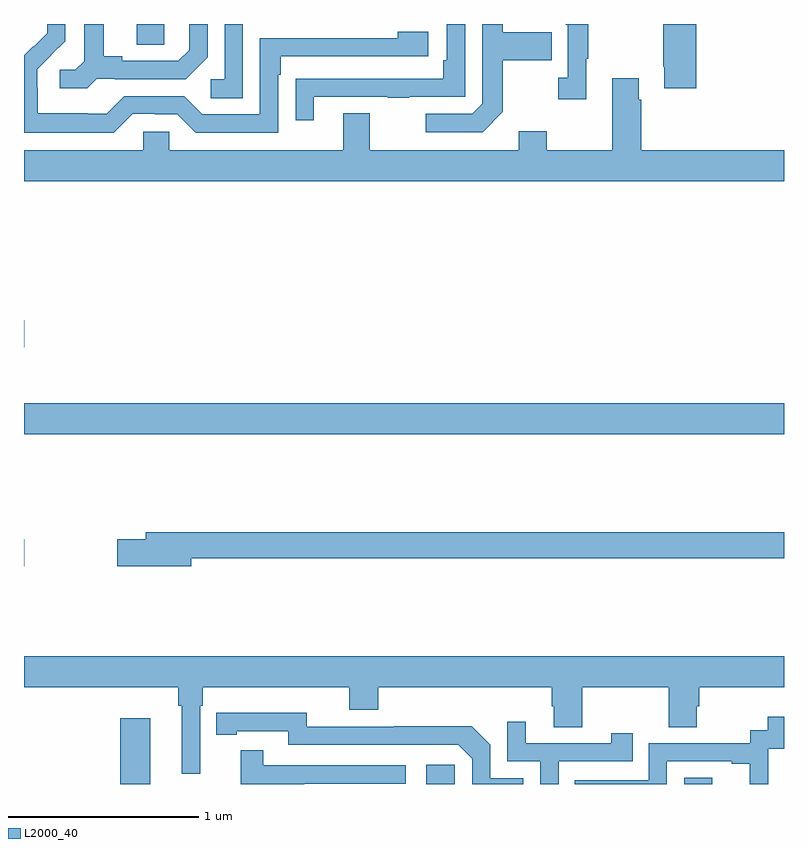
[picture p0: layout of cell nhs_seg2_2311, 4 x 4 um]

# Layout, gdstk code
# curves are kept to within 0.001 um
import gdstk
lib = gdstk.Library(unit=1e-6, precision=1e-09)
def R(c, l, rs):  # rectangles x0, y0, x1, y1
    for r in rs: c.add(gdstk.rectangle(r[:2], r[2:], *l))
def P(c, l, *ps):  # polygons
    for p in ps: c.add(gdstk.Polygon(p, *l))
L2000_40 = (2000, 40)

nhs_seg2_2311 = lib.new_cell('nhs_seg2_2311')
R(nhs_seg2_2311, L2000_40, [(231.506,641.8,231.664,642.145), (233.118,641.8,233.268,641.902), (234.474,641.8,234.622,641.833), (231,642.946,231.001,643.088), (231,643.64,235,643.804), (231,644.098,231.001,644.24), (231.593,645.691,231.738,645.8)])
P(nhs_seg2_2311, L2000_40, [(234.539,645.8),(234.364,645.8),(234.364,645.574),(234.371,645.574),(234.371,645.462),(234.539,645.462)],
  [(233.521,645.337),(233.521,645.61),(233.777,645.61),(233.777,645.757),(233.521,645.757),(233.521,645.8),(233.412,645.8),(233.412,645.381),(233.358,645.327),(233.115,645.327),(233.115,645.231),(233.415,645.231)],
  [(233.959,645.617),(233.971,645.617),(233.971,645.8),(233.85,645.8),(233.85,645.797),(233.862,645.797),(233.862,645.518),(233.811,645.518),(233.811,645.405),(233.959,645.405)],
  [(231.384,645.513),(231.478,645.513),(231.478,645.51),(231.85,645.51),(231.966,645.626),(231.966,645.8),(231.869,645.8),(231.869,645.663),(231.812,645.606),(231.517,645.606),(231.517,645.629),(231.421,645.629),(231.421,645.8),(231.317,645.8),(231.317,645.605),(231.27,645.558),(231.189,645.558),(231.189,645.461),(231.332,645.461)],
  [(232.152,645.8),(232.056,645.8),(232.056,645.51),(231.984,645.51),(231.984,645.409),(232.152,645.409)],
  [(231.573,645.327),(231.689,645.327),(231.689,645.324),(231.807,645.324),(231.903,645.228),(232.338,645.228),(232.338,645.533),(232.351,645.533),(232.351,645.63),(233.128,645.63),(233.128,645.76),(232.967,645.76),(232.967,645.726),(232.242,645.726),(232.242,645.324),(231.939,645.324),(231.843,645.42),(231.528,645.42),(231.435,645.327),(231.335,645.327),(231.335,645.331),(231.072,645.331),(231.072,645.465),(231.07,645.465),(231.07,645.562),(231.216,645.71),(231.216,645.8),(231.122,645.8),(231.122,645.752),(231.051,645.681),(231.048,645.684),(231,645.636),(231,645.227),(231.473,645.227)],
  [(232.525,645.417),(232.915,645.417),(232.915,645.412),(233.027,645.412),(233.027,645.417),(233.322,645.417),(233.322,645.8),(233.226,645.8),(233.226,645.61),(233.206,645.61),(233.206,645.513),(232.531,645.513),(232.531,645.512),(232.429,645.512),(232.429,645.294),(232.525,645.294)],
  [(234.235,645.401),(234.235,645.514),(234.095,645.514),(234.095,645.136),(233.751,645.136),(233.751,645.235),(233.603,645.235),(233.603,645.136),(232.819,645.136),(232.819,645.331),(232.679,645.331),(232.679,645.136),(231.765,645.136),(231.765,645.234),(231.627,645.234),(231.627,645.136),(231,645.136),(231,644.972),(235,644.972),(235,645.136),(234.248,645.136),(234.248,645.401)],
  [(231.88,642.988),(235,642.988),(235,643.124),(231.641,643.124),(231.641,643.088),(231.492,643.088),(231.492,642.946),(231.88,642.946)],
  [(231.927,642.212),(231.941,642.212),(231.941,642.308),(232.712,642.308),(232.712,642.191),(232.865,642.191),(232.865,642.308),(233.777,642.308),(233.777,642.21),(233.789,642.21),(233.789,642.1),(233.937,642.1),(233.937,642.308),(234.394,642.308),(234.394,642.1),(234.541,642.1),(234.541,642.21),(234.554,642.21),(234.554,642.308),(235,642.308),(235,642.472),(231,642.472),(231,642.308),(231.811,642.308),(231.811,642.212),(231.83,642.212),(231.83,641.853),(231.927,641.853)],
  [(233.628,641.829),(233.454,641.829),(233.454,642.006),(233.356,642.104),(232.948,642.104),(232.948,642.102),(232.488,642.102),(232.488,642.175),(232.012,642.174),(232.012,642.058),(232.12,642.058),(232.12,642.078),(232.392,642.078),(232.392,642.006),(233.286,642.006),(233.358,641.934),(233.358,641.8),(233.628,641.8)],
  [(234.384,641.919),(234.725,641.919),(234.725,641.907),(234.821,641.907),(234.821,641.8),(234.918,641.8),(234.918,641.985),(235,641.985),(235,642.154),(234.915,642.154),(234.915,642.084),(234.822,642.084),(234.822,642.015),(234.288,642.015),(234.288,641.82),(233.899,641.82),(233.899,641.8),(234.384,641.8)],
  [(233.814,641.919),(234.203,641.919),(234.203,642.067),(234.092,642.067),(234.092,642.015),(233.641,642.015),(233.641,642.127),(233.544,642.127),(233.544,641.919),(233.718,641.919),(233.718,641.8),(233.814,641.8)],
  [(232.475,641.802),(233.008,641.802),(233.008,641.898),(232.259,641.898),(232.259,641.977),(232.142,641.977),(232.142,641.8),(232.475,641.8)])

lib.write_gds('nhs_seg2_2311.gds')
